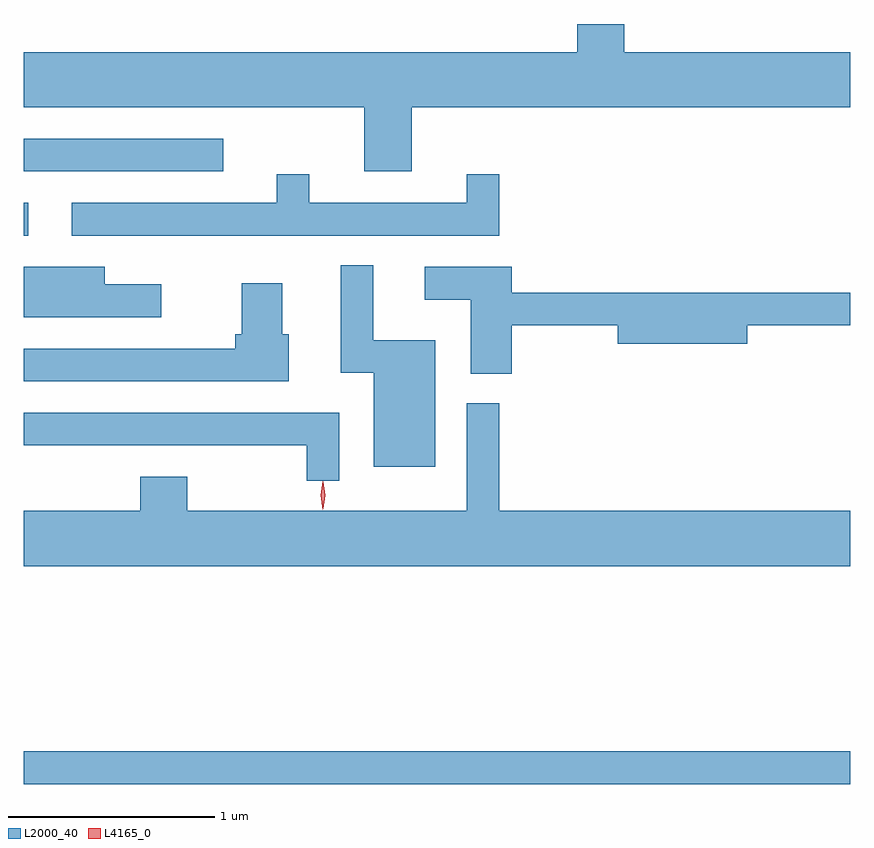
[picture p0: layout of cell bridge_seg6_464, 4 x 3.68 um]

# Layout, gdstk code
import gdstk
lib = gdstk.Library(unit=1e-6, precision=1e-09)
def R(c, l, rs):  # rectangles x0, y0, x1, y1
    for r in rs: c.add(gdstk.rectangle(r[:2], r[2:], *l))
def P(c, l, *ps):  # polygons
    for p in ps: c.add(gdstk.Polygon(p, *l))
L2000_40 = (2000, 40)
L4165_0 = (4165, 0)

bridge_seg6_464 = lib.new_cell('bridge_seg6_464')
R(bridge_seg6_464, L2000_40, [(666.012,1588.941,670.012,1589.099), (666.012,1591.596,666.033,1591.754), (666.012,1591.906,666.978,1592.064)])
P(bridge_seg6_464, L2000_40, [(667.889,1592.216),(670.012,1592.216),(670.012,1592.484),(668.919,1592.484),(668.919,1592.62),(668.691,1592.62),(668.691,1592.484),(666.012,1592.484),(666.012,1592.216),(667.661,1592.216),(667.661,1591.906),(667.889,1591.906)],
  [(668.314,1591.893),(668.156,1591.893),(668.156,1591.754),(667.394,1591.754),(667.394,1591.893),(667.236,1591.893),(667.236,1591.754),(666.243,1591.754),(666.243,1591.596),(668.314,1591.596)],
  [(668.004,1591.089),(667.704,1591.089),(667.704,1591.453),(667.546,1591.453),(667.546,1590.931),(667.706,1590.931),(667.706,1590.476),(668.004,1590.476)],
  [(668.374,1591.161),(668.886,1591.161),(668.886,1591.071),(669.514,1591.071),(669.514,1591.161),(670.012,1591.161),(670.012,1591.319),(668.374,1591.319),(668.374,1591.444),(667.953,1591.444),(667.953,1591.286),(668.176,1591.286),(668.176,1590.926),(668.374,1590.926)],
  [(666.678,1591.359),(666.404,1591.359),(666.404,1591.444),(666.012,1591.444),(666.012,1591.201),(666.678,1591.201)],
  [(667.294,1591.119),(667.264,1591.119),(667.264,1591.364),(667.066,1591.364),(667.066,1591.119),(667.036,1591.119),(667.036,1591.049),(666.012,1591.049),(666.012,1590.891),(667.294,1590.891)],
  [(670.012,1590.264),(668.314,1590.264),(668.314,1590.783),(668.156,1590.783),(668.156,1590.264),(666.804,1590.264),(666.804,1590.429),(666.576,1590.429),(666.576,1590.264),(666.012,1590.264),(666.012,1589.996),(670.012,1589.996)],
  [(667.539,1590.739),(666.012,1590.739),(666.012,1590.581),(667.381,1590.581),(667.381,1590.408),(667.539,1590.408)])
P(bridge_seg6_464, L4165_0, [(667.46,1590.273),(667.46,1590.273),(667.45,1590.338),(667.46,1590.403),(667.46,1590.403),(667.461,1590.403),(667.47,1590.338),(667.461,1590.273)],
  [(667.459,1590.268),(667.458,1590.269),(667.45,1590.338),(667.46,1590.406),(667.46,1590.407),(667.46,1590.406),(667.47,1590.338),(667.46,1590.269)])

lib.write_gds('bridge_seg6_464.gds')
